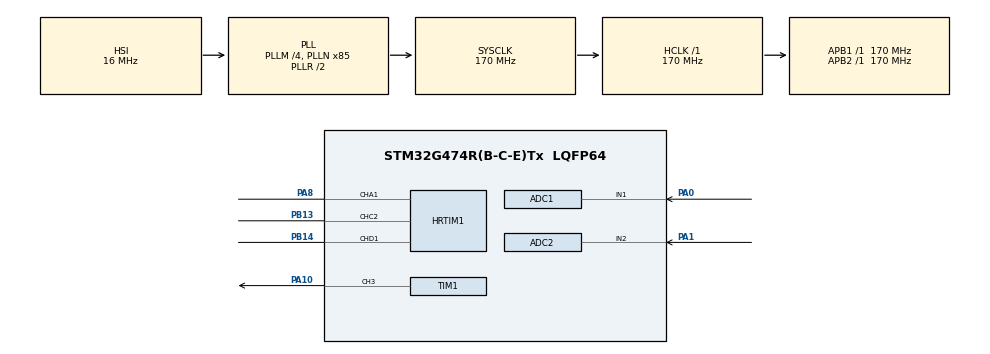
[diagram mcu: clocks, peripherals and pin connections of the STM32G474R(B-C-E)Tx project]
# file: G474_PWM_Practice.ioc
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ADC1.EnableInjectedConversion=ENABLE
ADC1.EnableRegularConversion=DISABLE
ADC1.ExternalTrigInjecConv=ADC_EXTERNALTRIGINJEC_HRTIM_TRG2
ADC1.InjNumberOfConversion=1
ADC1.InjectedChannel-1\#ChannelInjectedConversion=ADC_CHANNEL_1
ADC1.InjectedOffsetNumber-1\#ChannelInjectedConversion=ADC_OFFSET_NONE
ADC1.InjectedRank-1\#ChannelInjectedConversion=1
ADC1.InjectedSamplingTime-1\#ChannelInjectedConversion=ADC_SAMPLETIME_24CYCLES_5
ADC1.Rank1_Channel=ADC_CHANNEL_1
ADC1.master=1
ADC2.EnableInjectedConversion=ENABLE
ADC2.EnableRegularConversion=DISABLE
ADC2.ExternalTrigInjecConv=ADC_EXTERNALTRIGINJEC_HRTIM_TRG4
ADC2.InjNumberOfConversion=1
ADC2.InjectedChannel-3\#ChannelInjectedConversion=ADC_CHANNEL_2
ADC2.InjectedOffsetNumber-3\#ChannelInjectedConversion=ADC_OFFSET_NONE
ADC2.InjectedRank-3\#ChannelInjectedConversion=1
ADC2.InjectedSamplingTime-3\#ChannelInjectedConversion=ADC_SAMPLETIME_24CYCLES_5
ADC2.Rank1_Channel=ADC_CHANNEL_2
HRTIM1.ADCTrigger_Id1=__NULL
HRTIM1.ADCTrigger_Id2=__NULL
HRTIM1.ADCTrigger_Id4=__NULL
HRTIM1.CompareUnit1-MasterTimer=HRTIM_COMPAREUNIT_1
HRTIM1.CompareUnit1-Output_TA1=HRTIM_COMPAREUNIT_1
HRTIM1.CompareUnit1-Output_TC2=HRTIM_COMPAREUNIT_1
HRTIM1.CompareUnit1-Output_TD1=HRTIM_COMPAREUNIT_1
HRTIM1.CompareUnit2-MasterTimer=HRTIM_COMPAREUNIT_2
HRTIM1.CompareValue1-MasterTimer=21760
HRTIM1.CompareValue1-Output_TA1=16320
HRTIM1.CompareValue1-Output_TC2=16320
HRTIM1.CompareValue1-Output_TD1=16320
HRTIM1.CompareValue2-MasterTimer=43520
HRTIM1.Event_EEV1=__NULL
HRTIM1.NumberResetSource1-Output_TA1=1
HRTIM1.NumberResetSource1-Output_TD1=1
HRTIM1.NumberResetSource2-Output_TC2=1
HRTIM1.NumberResetTrigger-Output_TA1=1
HRTIM1.NumberResetTrigger-Output_TC2=1
HRTIM1.NumberResetTrigger-Output_TD1=1
HRTIM1.NumberSetSource1-Output_TA1=1
HRTIM1.NumberSetSource1-Output_TD1=1
HRTIM1.NumberSetSource2-Output_TC2=1
HRTIM1.NumberUpdateTrigger-Output_TA1=0
HRTIM1.Periode_MASTER=65280
HRTIM1.Periode_TA=65280
HRTIM1.Periode_TC=65280
HRTIM1.Periode_TD=65280
HRTIM1.PreloadEnable-MasterTimer=HRTIM_PRELOAD_ENABLED
HRTIM1.PreloadEnable-Output_TA1=HRTIM_PRELOAD_ENABLED
HRTIM1.PreloadEnable-Output_TC2=HRTIM_PRELOAD_ENABLED
HRTIM1.PreloadEnable-Output_TD1=HRTIM_PRELOAD_ENABLED
HRTIM1.PrescalerRatio_TA=HRTIM_PRESCALERRATIO_MUL32
HRTIM1.ResetOutput1_Source1-Output_TA1=HRTIM_OUTPUTRESET_TIMCMP1
HRTIM1.ResetOutput1_Source1-Output_TD1=HRTIM_OUTPUTRESET_TIMCMP1
HRTIM1.ResetOutput2_Source1-Output_TC2=HRTIM_OUTPUTRESET_TIMCMP1
HRTIM1.ResetTrigger1-Output_TA1=HRTIM_TIMRESETTRIGGER_MASTER_PER
HRTIM1.ResetTrigger1-Output_TC2=HRTIM_TIMRESETTRIGGER_MASTER_CMP1
HRTIM1.ResetTrigger1-Output_TD1=HRTIM_TIMRESETTRIGGER_MASTER_CMP2
HRTIM1.ResetUpdate-Output_TA1=HRTIM_TIMUPDATEONRESET_DISABLED
HRTIM1.SetOutput1_Source1-Output_TA1=HRTIM_OUTPUTSET_MASTERPER
HRTIM1.SetOutput1_Source1-Output_TD1=HRTIM_OUTPUTSET_MASTERCMP2
HRTIM1.SetOutput2_Source1-Output_TC2=HRTIM_OUTPUTSET_MASTERCMP1
Mcu.Family=STM32G4
Mcu.Name=STM32G474R(B-C-E)Tx
Mcu.Package=LQFP64
NUCLEO-G474RE.BUTTON=1
NUCLEO-G474RE.LD2=true
NUCLEO-G474RE.VCP=true
NVIC.EXTI15_10_IRQn=true\:0\:0\:false\:false\:true\:false\:true\:true
NVIC.PriorityGroup=NVIC_PRIORITYGROUP_4
NVIC.TIM6_DAC_IRQn=true\:0\:0\:false\:false\:true\:true\:true\:true
PA0.Mode=IN1-Single-Ended
PA0.Signal=ADC1_IN1
PA1.Mode=IN2-Single-Ended
PA1.Signal=ADC2_IN2
PA10.Signal=S_TIM1_CH3
PA13.GPIO_Label=T_SWDIO
PA13.Signal=SYS_JTMS-SWDIO
PA14.GPIO_Label=T_SWCLK
PA14.Signal=SYS_JTCK-SWCLK
PA2.Signal=LPUART1_TX
PA3.Signal=LPUART1_RX
PA8.Mode=Output_TA1
PA8.Signal=HRTIM1_CHA1
PB13.Mode=Output_TC2
PB13.Signal=HRTIM1_CHC2
PB14.Mode=Output_TD1
PB14.Signal=HRTIM1_CHD1
PB3.GPIO_Label=T_SWO
PB3.Signal=SYS_JTDO-SWO
PC14-OSC32_IN.GPIO_Label=RCC_OSC32_IN
PC14-OSC32_IN.Signal=RCC_OSC32_IN
PC15-OSC32_OUT.GPIO_Label=RCC_OSC32_OUT
PC15-OSC32_OUT.Signal=RCC_OSC32_OUT
PF0-OSC_IN.GPIO_Label=RCC_OSC_IN
PF0-OSC_IN.Signal=RCC_OSC_IN
PF1-OSC_OUT.GPIO_Label=RCC_OSC_OUT
PF1-OSC_OUT.Signal=RCC_OSC_OUT
ProjectManager.HeapSize=0x200
ProjectManager.StackSize=0x400
ProjectManager.TargetToolchain=CMake
RCC.ADC12Freq_Value=170000000
RCC.ADC345Freq_Value=170000000
RCC.AHBFreq_Value=170000000
RCC.APB1Freq_Value=170000000
RCC.APB1TimFreq_Value=170000000
RCC.APB2Freq_Value=170000000
RCC.APB2TimFreq_Value=170000000
RCC.CortexFreq_Value=170000000
RCC.EXTERNAL_CLOCK_VALUE=12288000
RCC.HCLKFreq_Value=170000000
RCC.HSE_VALUE=24000000
RCC.HSI48_VALUE=48000000
RCC.HSI_VALUE=16000000
RCC.LSE_VALUE=32768
RCC.PLLM=RCC_PLLM_DIV4
RCC.PLLN=85
RCC.RTCClockSelection=RCC_RTCCLKSOURCE_LSE
RCC.SYSCLKFreq_VALUE=170000000
RCC.SYSCLKSource=RCC_SYSCLKSOURCE_PLLCLK
RCC.USBFreq_Value=170000000
RCC.VCOOutputFreq_Value=340000000
SH.S_TIM1_CH3.0=TIM1_CH3,PWM Generation3 CH3
TIM1.Channel-PWM\ Generation3\ CH3=TIM_CHANNEL_3
TIM1.PeriodNoDither=999
TIM1.Prescaler=169
TIM1.PulseNoDither_3=50
TIM6.PeriodNoDither=9999
TIM6.Prescaler=16999
VP_HRTIM1_VS_hrtimMasterTimerNoOutput.Mode=MasterTimer
VP_NUCLEO-G474RE_VS_BSP_COMMON.Mode=COMMON
VP_SYS_VS_DBSignals.Mode=DisableDeadBatterySignals
VP_TIM1_VS_ClockSourceINT.Mode=Internal
VP_TIM6_VS_ClockSourceINT.Mode=Enable_Timer
board=NUCLEO-G474RE

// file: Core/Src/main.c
/* USER CODE BEGIN Header */
/**
  ******************************************************************************
  * @file           : main.c
  * @brief          : Main program body
  ******************************************************************************
  * @attention
  *
  * Copyright (c) 2026 STMicroelectronics.
  * All rights reserved.
  *
  * This software is licensed under terms that can be found in the LICENSE file
  * in the root directory of this software component.
  * If no LICENSE file comes with this software, it is provided AS-IS.
  *
  ******************************************************************************
  */
/* USER CODE END Header */
#include "main.h"

/* USER CODE BEGIN Includes */
#include <stdbool.h>

/* USER CODE END Includes */

COM_InitTypeDef BspCOMInit;
ADC_HandleTypeDef hadc1;
ADC_HandleTypeDef hadc2;

HRTIM_HandleTypeDef hhrtim1;

TIM_HandleTypeDef htim1;
TIM_HandleTypeDef htim6;

/* USER CODE BEGIN PV */
uint32_t period_hrtim;
bool pwm_25;
/* USER CODE END PV */

void SystemClock_Config(void);
static void MX_GPIO_Init(void);
static void MX_HRTIM1_Init(void);
static void MX_TIM6_Init(void);
static void MX_TIM1_Init(void);
static void MX_ADC1_Init(void);
static void MX_ADC2_Init(void);

/* USER CODE BEGIN 0 */
void change_user_frequency_50(uint32_t period)
{
  __HAL_HRTIM_SETPERIOD(&hhrtim1, HRTIM_TIMERINDEX_TIMER_A, period);
  __HAL_HRTIM_SETCOMPARE(&hhrtim1, HRTIM_TIMERINDEX_TIMER_A, HRTIM_COMPAREUNIT_1, period / 2);
  HAL_HRTIM_SoftwareUpdate(&hhrtim1, HRTIM_TIMERUPDATE_A);
}

void HAL_TIM_PeriodElapsedCallback(TIM_HandleTypeDef *htim)
{
  if( htim->Instance == TIM6 )
  {
    if (pwm_25)
    {
      //CHANGE TTO 75% DUTY CYCLE
      __HAL_HRTIM_SETCOMPARE(&hhrtim1, HRTIM_TIMERINDEX_TIMER_A, HRTIM_COMPAREUNIT_1, (3 * period_hrtim ) / 4);
      pwm_25 = false;
    }
    else {
      //CHANGE TO 25% DUTY CYCLE
      __HAL_HRTIM_SETCOMPARE(&hhrtim1, HRTIM_TIMERINDEX_TIMER_A, HRTIM_COMPAREUNIT_1, period_hrtim / 4);
      pwm_25 = true;

    }
  }
}
/* USER CODE END 0 */

int main(void)
{

  /* MCU Configuration--------------------------------------------------------*/

  /* Reset of all peripherals, Initializes the Flash interface and the Systick. */
  HAL_Init();

  /* Configure the system clock */
  SystemClock_Config();

  /* Initialize all configured peripherals */
  MX_GPIO_Init();
  MX_HRTIM1_Init();
  MX_TIM6_Init();
  MX_TIM1_Init();
  MX_ADC1_Init();
  MX_ADC2_Init();
  /* USER CODE BEGIN 2 */
  /* Load all four timers' preloads before starting the three-phase waveform. */
  if (HAL_HRTIM_SoftwareUpdate(&hhrtim1, HRTIM_TIMERUPDATE_MASTER | HRTIM_TIMERUPDATE_A |
                              HRTIM_TIMERUPDATE_C | HRTIM_TIMERUPDATE_D) != HAL_OK)
  {
    Error_Handler();
  }
  if (HAL_HRTIM_WaveformOutputStart(&hhrtim1, HRTIM_OUTPUT_TA1 | HRTIM_OUTPUT_TC2 |
                                   HRTIM_OUTPUT_TD1) != HAL_OK)
  {
    Error_Handler();
  }
  /* Enable master and phase counters together; master events establish phase. */
  if (HAL_HRTIM_WaveformCounterStart(&hhrtim1, HRTIM_TIMERID_MASTER | HRTIM_TIMERID_TIMER_A |
                                    HRTIM_TIMERID_TIMER_C | HRTIM_TIMERID_TIMER_D) != HAL_OK)
  {
    Error_Handler();
  }

  HAL_TIM_PWM_Start(&htim1, TIM_CHANNEL_3);
  /* USER CODE END 2 */

  /* Initialize led */
  BSP_LED_Init(LED_GREEN);

  /* Initialize USER push-button, will be used to trigger an interrupt each time it's pressed.*/
  BSP_PB_Init(BUTTON_USER, BUTTON_MODE_EXTI);

  /* Initialize COM1 port (115200, 8 bits (7-bit data + 1 stop bit), no parity */
  BspCOMInit.BaudRate   = 115200;
  BspCOMInit.WordLength = COM_WORDLENGTH_8B;
  BspCOMInit.StopBits   = COM_STOPBITS_1;
  BspCOMInit.Parity     = COM_PARITY_NONE;
  BspCOMInit.HwFlowCtl  = COM_HWCONTROL_NONE;
  if (BSP_COM_Init(COM1, &BspCOMInit) != BSP_ERROR_NONE)
  {
    Error_Handler();
  }

  /* Infinite loop */
  while (1)
  {

    /* USER CODE BEGIN 3 */
    /* HRTIM generates the waveform without CPU intervention. */
  }
  /* USER CODE END 3 */
}

void SystemClock_Config(void)
{
  RCC_OscInitTypeDef RCC_OscInitStruct = {0};
  RCC_ClkInitTypeDef RCC_ClkInitStruct = {0};

  /** Configure the main internal regulator output voltage
  */
  HAL_PWREx_ControlVoltageScaling(PWR_REGULATOR_VOLTAGE_SCALE1_BOOST);

  /** Initializes the RCC Oscillators according to the specified parameters
  * in the RCC_OscInitTypeDef structure.
  */
  RCC_OscInitStruct.OscillatorType = RCC_OSCILLATORTYPE_HSI;
  RCC_OscInitStruct.HSIState = RCC_HSI_ON;
  RCC_OscInitStruct.HSICalibrationValue = RCC_HSICALIBRATION_DEFAULT;
  RCC_OscInitStruct.PLL.PLLState = RCC_PLL_ON;
  RCC_OscInitStruct.PLL.PLLSource = RCC_PLLSOURCE_HSI;
  RCC_OscInitStruct.PLL.PLLM = RCC_PLLM_DIV4;
  RCC_OscInitStruct.PLL.PLLN = 85;
  RCC_OscInitStruct.PLL.PLLP = RCC_PLLP_DIV2;
  RCC_OscInitStruct.PLL.PLLQ = RCC_PLLQ_DIV2;
  RCC_OscInitStruct.PLL.PLLR = RCC_PLLR_DIV2;
  if (HAL_RCC_OscConfig(&RCC_OscInitStruct) != HAL_OK)
  {
    Error_Handler();
  }

  /** Initializes the CPU, AHB and APB buses clocks
  */
  RCC_ClkInitStruct.ClockType = RCC_CLOCKTYPE_HCLK|RCC_CLOCKTYPE_SYSCLK
                              |RCC_CLOCKTYPE_PCLK1|RCC_CLOCKTYPE_PCLK2;
  RCC_ClkInitStruct.SYSCLKSource = RCC_SYSCLKSOURCE_PLLCLK;
  RCC_ClkInitStruct.AHBCLKDivider = RCC_SYSCLK_DIV1;
  RCC_ClkInitStruct.APB1CLKDivider = RCC_HCLK_DIV1;
  RCC_ClkInitStruct.APB2CLKDivider = RCC_HCLK_DIV1;

  if (HAL_RCC_ClockConfig(&RCC_ClkInitStruct, FLASH_LATENCY_4) != HAL_OK)
  {
    Error_Handler();
  }
}

static void MX_ADC1_Init(void)
{

  ADC_MultiModeTypeDef multimode = {0};
  ADC_InjectionConfTypeDef sConfigInjected = {0};

  /** Common config
  */
  hadc1.Instance = ADC1;
  hadc1.Init.ClockPrescaler = ADC_CLOCK_SYNC_PCLK_DIV4;
  hadc1.Init.Resolution = ADC_RESOLUTION_12B;
  hadc1.Init.DataAlign = ADC_DATAALIGN_RIGHT;
  hadc1.Init.GainCompensation = 0;
  hadc1.Init.ScanConvMode = ADC_SCAN_DISABLE;
  hadc1.Init.EOCSelection = ADC_EOC_SINGLE_CONV;
  hadc1.Init.LowPowerAutoWait = DISABLE;
  hadc1.Init.ContinuousConvMode = DISABLE;
  hadc1.Init.NbrOfConversion = 1;
  hadc1.Init.DiscontinuousConvMode = DISABLE;
  hadc1.Init.DMAContinuousRequests = DISABLE;
  hadc1.Init.Overrun = ADC_OVR_DATA_PRESERVED;
  hadc1.Init.OversamplingMode = DISABLE;
  if (HAL_ADC_Init(&hadc1) != HAL_OK)
  {
    Error_Handler();
  }

  /** Configure the ADC multi-mode
  */
  multimode.Mode = ADC_MODE_INDEPENDENT;
  if (HAL_ADCEx_MultiModeConfigChannel(&hadc1, &multimode) != HAL_OK)
  {
    Error_Handler();
  }

  /** Configure Injected Channel
  */
  sConfigInjected.InjectedChannel = ADC_CHANNEL_1;
  sConfigInjected.InjectedRank = ADC_INJECTED_RANK_1;
  sConfigInjected.InjectedSamplingTime = ADC_SAMPLETIME_24CYCLES_5;
  sConfigInjected.InjectedSingleDiff = ADC_SINGLE_ENDED;
  sConfigInjected.InjectedOffsetNumber = ADC_OFFSET_NONE;
  sConfigInjected.InjectedOffset = 0;
  sConfigInjected.InjectedNbrOfConversion = 1;
  sConfigInjected.InjectedDiscontinuousConvMode = DISABLE;
  sConfigInjected.AutoInjectedConv = DISABLE;
  sConfigInjected.QueueInjectedContext = DISABLE;
  sConfigInjected.ExternalTrigInjecConv = ADC_EXTERNALTRIGINJEC_HRTIM_TRG2;
  sConfigInjected.ExternalTrigInjecConvEdge = ADC_EXTERNALTRIGINJECCONV_EDGE_RISING;
  sConfigInjected.InjecOversamplingMode = DISABLE;
  if (HAL_ADCEx_InjectedConfigChannel(&hadc1, &sConfigInjected) != HAL_OK)
  {
    Error_Handler();
  }

}

static void MX_ADC2_Init(void)
{

  ADC_InjectionConfTypeDef sConfigInjected = {0};

  /** Common config
  */
  hadc2.Instance = ADC2;
  hadc2.Init.ClockPrescaler = ADC_CLOCK_SYNC_PCLK_DIV4;
  hadc2.Init.Resolution = ADC_RESOLUTION_12B;
  hadc2.Init.DataAlign = ADC_DATAALIGN_RIGHT;
  hadc2.Init.GainCompensation = 0;
  hadc2.Init.ScanConvMode = ADC_SCAN_DISABLE;
  hadc2.Init.EOCSelection = ADC_EOC_SINGLE_CONV;
  hadc2.Init.LowPowerAutoWait = DISABLE;
  hadc2.Init.ContinuousConvMode = DISABLE;
  hadc2.Init.NbrOfConversion = 1;
  hadc2.Init.DiscontinuousConvMode = DISABLE;
  hadc2.Init.DMAContinuousRequests = DISABLE;
  hadc2.Init.Overrun = ADC_OVR_DATA_PRESERVED;
  hadc2.Init.OversamplingMode = DISABLE;
  if (HAL_ADC_Init(&hadc2) != HAL_OK)
  {
    Error_Handler();
  }

  /** Configure Injected Channel
  */
  sConfigInjected.InjectedChannel = ADC_CHANNEL_2;
  sConfigInjected.InjectedRank = ADC_INJECTED_RANK_1;
  sConfigInjected.InjectedSamplingTime = ADC_SAMPLETIME_24CYCLES_5;
  sConfigInjected.InjectedSingleDiff = ADC_SINGLE_ENDED;
  sConfigInjected.InjectedOffsetNumber = ADC_OFFSET_NONE;
  sConfigInjected.InjectedOffset = 0;
  sConfigInjected.InjectedNbrOfConversion = 1;
  sConfigInjected.InjectedDiscontinuousConvMode = DISABLE;
  sConfigInjected.AutoInjectedConv = DISABLE;
  sConfigInjected.QueueInjectedContext = DISABLE;
  sConfigInjected.ExternalTrigInjecConv = ADC_EXTERNALTRIGINJEC_HRTIM_TRG4;
  sConfigInjected.ExternalTrigInjecConvEdge = ADC_EXTERNALTRIGINJECCONV_EDGE_RISING;
  sConfigInjected.InjecOversamplingMode = DISABLE;
  if (HAL_ADCEx_InjectedConfigChannel(&hadc2, &sConfigInjected) != HAL_OK)
  {
    Error_Handler();
  }

}

static void MX_HRTIM1_Init(void)
{

  HRTIM_TimeBaseCfgTypeDef pTimeBaseCfg = {0};
  HRTIM_TimerCfgTypeDef pTimerCfg = {0};
  HRTIM_CompareCfgTypeDef pCompareCfg = {0};
  HRTIM_TimerCtlTypeDef pTimerCtl = {0};
  HRTIM_OutputCfgTypeDef pOutputCfg = {0};

  hhrtim1.Instance = HRTIM1;
  hhrtim1.Init.HRTIMInterruptResquests = HRTIM_IT_NONE;
  hhrtim1.Init.SyncOptions = HRTIM_SYNCOPTION_NONE;
  if (HAL_HRTIM_Init(&hhrtim1) != HAL_OK)
  {
    Error_Handler();
  }
  if (HAL_HRTIM_DLLCalibrationStart(&hhrtim1, HRTIM_CALIBRATIONRATE_3) != HAL_OK)
  {
    Error_Handler();
  }
  if (HAL_HRTIM_PollForDLLCalibration(&hhrtim1, 10) != HAL_OK)
  {
    Error_Handler();
  }
  pTimeBaseCfg.Period = 65280;
  pTimeBaseCfg.RepetitionCounter = 0x00;
  pTimeBaseCfg.PrescalerRatio = HRTIM_PRESCALERRATIO_MUL32;
  pTimeBaseCfg.Mode = HRTIM_MODE_CONTINUOUS;
  if (HAL_HRTIM_TimeBaseConfig(&hhrtim1, HRTIM_TIMERINDEX_MASTER, &pTimeBaseCfg) != HAL_OK)
  {
    Error_Handler();
  }
  pTimerCfg.InterruptRequests = HRTIM_MASTER_IT_NONE;
  pTimerCfg.DMARequests = HRTIM_MASTER_DMA_NONE;
  pTimerCfg.DMASrcAddress = 0x0000;
  pTimerCfg.DMADstAddress = 0x0000;
  pTimerCfg.DMASize = 0x1;
  pTimerCfg.HalfModeEnable = HRTIM_HALFMODE_DISABLED;
  pTimerCfg.InterleavedMode = HRTIM_INTERLEAVED_MODE_DISABLED;
  pTimerCfg.StartOnSync = HRTIM_SYNCSTART_DISABLED;
  pTimerCfg.ResetOnSync = HRTIM_SYNCRESET_DISABLED;
  pTimerCfg.DACSynchro = HRTIM_DACSYNC_NONE;
  pTimerCfg.PreloadEnable = HRTIM_PRELOAD_ENABLED;
  pTimerCfg.UpdateGating = HRTIM_UPDATEGATING_INDEPENDENT;
  pTimerCfg.BurstMode = HRTIM_TIMERBURSTMODE_MAINTAINCLOCK;
  pTimerCfg.RepetitionUpdate = HRTIM_UPDATEONREPETITION_DISABLED;
  pTimerCfg.ReSyncUpdate = HRTIM_TIMERESYNC_UPDATE_UNCONDITIONAL;
  if (HAL_HRTIM_WaveformTimerConfig(&hhrtim1, HRTIM_TIMERINDEX_MASTER, &pTimerCfg) != HAL_OK)
  {
    Error_Handler();
  }
  pCompareCfg.CompareValue = 21760;
  if (HAL_HRTIM_WaveformCompareConfig(&hhrtim1, HRTIM_TIMERINDEX_MASTER, HRTIM_COMPAREUNIT_1, &pCompareCfg) != HAL_OK)
  {
    Error_Handler();
  }
  pCompareCfg.CompareValue = 43520;
  if (HAL_HRTIM_WaveformCompareConfig(&hhrtim1, HRTIM_TIMERINDEX_MASTER, HRTIM_COMPAREUNIT_2, &pCompareCfg) != HAL_OK)
  {
    Error_Handler();
  }
  if (HAL_HRTIM_TimeBaseConfig(&hhrtim1, HRTIM_TIMERINDEX_TIMER_A, &pTimeBaseCfg) != HAL_OK)
  {
    Error_Handler();
  }
  pTimerCtl.UpDownMode = HRTIM_TIMERUPDOWNMODE_UP;
  pTimerCtl.GreaterCMP1 = HRTIM_TIMERGTCMP1_EQUAL;
  pTimerCtl.DualChannelDacEnable = HRTIM_TIMER_DCDE_DISABLED;
  if (HAL_HRTIM_WaveformTimerControl(&hhrtim1, HRTIM_TIMERINDEX_TIMER_A, &pTimerCtl) != HAL_OK)
  {
    Error_Handler();
  }
  pTimerCfg.InterruptRequests = HRTIM_TIM_IT_NONE;
  pTimerCfg.DMARequests = HRTIM_TIM_DMA_NONE;
  pTimerCfg.PushPull = HRTIM_TIMPUSHPULLMODE_DISABLED;
  pTimerCfg.FaultEnable = HRTIM_TIMFAULTENABLE_NONE;
  pTimerCfg.FaultLock = HRTIM_TIMFAULTLOCK_READWRITE;
  pTimerCfg.DeadTimeInsertion = HRTIM_TIMDEADTIMEINSERTION_DISABLED;
  pTimerCfg.DelayedProtectionMode = HRTIM_TIMER_A_B_C_DELAYEDPROTECTION_DISABLED;
  pTimerCfg.UpdateTrigger = HRTIM_TIMUPDATETRIGGER_NONE;
  pTimerCfg.ResetTrigger = HRTIM_TIMRESETTRIGGER_MASTER_PER;
  pTimerCfg.ResetUpdate = HRTIM_TIMUPDATEONRESET_DISABLED;
  if (HAL_HRTIM_WaveformTimerConfig(&hhrtim1, HRTIM_TIMERINDEX_TIMER_A, &pTimerCfg) != HAL_OK)
  {
    Error_Handler();
  }
  pTimerCfg.ResetTrigger = HRTIM_TIMRESETTRIGGER_MASTER_CMP1;
  if (HAL_HRTIM_WaveformTimerConfig(&hhrtim1, HRTIM_TIMERINDEX_TIMER_C, &pTimerCfg) != HAL_OK)
  {
    Error_Handler();
  }
  pTimerCfg.DelayedProtectionMode = HRTIM_TIMER_D_E_DELAYEDPROTECTION_DISABLED;
  pTimerCfg.ResetTrigger = HRTIM_TIMRESETTRIGGER_MASTER_CMP2;
  if (HAL_HRTIM_WaveformTimerConfig(&hhrtim1, HRTIM_TIMERINDEX_TIMER_D, &pTimerCfg) != HAL_OK)
  {
    Error_Handler();
  }
  pCompareCfg.CompareValue = 16320;
  if (HAL_HRTIM_WaveformCompareConfig(&hhrtim1, HRTIM_TIMERINDEX_TIMER_A, HRTIM_COMPAREUNIT_1, &pCompareCfg) != HAL_OK)
  {
    Error_Handler();
  }
  pOutputCfg.Polarity = HRTIM_OUTPUTPOLARITY_HIGH;
  pOutputCfg.SetSource = HRTIM_OUTPUTSET_MASTERPER;
  pOutputCfg.ResetSource = HRTIM_OUTPUTRESET_TIMCMP1;
  pOutputCfg.IdleMode = HRTIM_OUTPUTIDLEMODE_NONE;
  pOutputCfg.IdleLevel = HRTIM_OUTPUTIDLELEVEL_INACTIVE;
  pOutputCfg.FaultLevel = HRTIM_OUTPUTFAULTLEVEL_NONE;
  pOutputCfg.ChopperModeEnable = HRTIM_OUTPUTCHOPPERMODE_DISABLED;
  pOutputCfg.BurstModeEntryDelayed = HRTIM_OUTPUTBURSTMODEENTRY_REGULAR;
  if (HAL_HRTIM_WaveformOutputConfig(&hhrtim1, HRTIM_TIMERINDEX_TIMER_A, HRTIM_OUTPUT_TA1, &pOutputCfg) != HAL_OK)
  {
    Error_Handler();
  }
  pOutputCfg.SetSource = HRTIM_OUTPUTSET_MASTERCMP2;
  if (HAL_HRTIM_WaveformOutputConfig(&hhrtim1, HRTIM_TIMERINDEX_TIMER_D, HRTIM_OUTPUT_TD1, &pOutputCfg) != HAL_OK)
  {
    Error_Handler();
  }
  if (HAL_HRTIM_TimeBaseConfig(&hhrtim1, HRTIM_TIMERINDEX_TIMER_C, &pTimeBaseCfg) != HAL_OK)
  {
    Error_Handler();
  }
  if (HAL_HRTIM_WaveformTimerControl(&hhrtim1, HRTIM_TIMERINDEX_TIMER_C, &pTimerCtl) != HAL_OK)
  {
    Error_Handler();
  }
  if (HAL_HRTIM_WaveformCompareConfig(&hhrtim1, HRTIM_TIMERINDEX_TIMER_C, HRTIM_COMPAREUNIT_1, &pCompareCfg) != HAL_OK)
  {
    Error_Handler();
  }
  pOutputCfg.SetSource = HRTIM_OUTPUTSET_MASTERCMP1;
  pOutputCfg.ResetSource = HRTIM_OUTPUTRESET_TIMCMP1;
  if (HAL_HRTIM_WaveformOutputConfig(&hhrtim1, HRTIM_TIMERINDEX_TIMER_C, HRTIM_OUTPUT_TC2, &pOutputCfg) != HAL_OK)
  {
    Error_Handler();
  }
  if (HAL_HRTIM_TimeBaseConfig(&hhrtim1, HRTIM_TIMERINDEX_TIMER_D, &pTimeBaseCfg) != HAL_OK)
  {
    Error_Handler();
  }
  if (HAL_HRTIM_WaveformTimerControl(&hhrtim1, HRTIM_TIMERINDEX_TIMER_D, &pTimerCtl) != HAL_OK)
  {
    Error_Handler();
  }
  if (HAL_HRTIM_WaveformCompareConfig(&hhrtim1, HRTIM_TIMERINDEX_TIMER_D, HRTIM_COMPAREUNIT_1, &pCompareCfg) != HAL_OK)
  {
    Error_Handler();
  }
  HAL_HRTIM_MspPostInit(&hhrtim1);

}

static void MX_TIM1_Init(void)
{

  TIM_ClockConfigTypeDef sClockSourceConfig = {0};
  TIM_MasterConfigTypeDef sMasterConfig = {0};
  TIM_OC_InitTypeDef sConfigOC = {0};
  TIM_BreakDeadTimeConfigTypeDef sBreakDeadTimeConfig = {0};

  htim1.Instance = TIM1;
  htim1.Init.Prescaler = 169;
  htim1.Init.CounterMode = TIM_COUNTERMODE_UP;
  htim1.Init.Period = 999;
  htim1.Init.ClockDivision = TIM_CLOCKDIVISION_DIV1;
  htim1.Init.RepetitionCounter = 0;
  htim1.Init.AutoReloadPreload = TIM_AUTORELOAD_PRELOAD_DISABLE;
  if (HAL_TIM_Base_Init(&htim1) != HAL_OK)
  {
    Error_Handler();
  }
  sClockSourceConfig.ClockSource = TIM_CLOCKSOURCE_INTERNAL;
  if (HAL_TIM_ConfigClockSource(&htim1, &sClockSourceConfig) != HAL_OK)
  {
    Error_Handler();
  }
  if (HAL_TIM_PWM_Init(&htim1) != HAL_OK)
  {
    Error_Handler();
  }
  sMasterConfig.MasterOutputTrigger = TIM_TRGO_RESET;
  sMasterConfig.MasterOutputTrigger2 = TIM_TRGO2_RESET;
  sMasterConfig.MasterSlaveMode = TIM_MASTERSLAVEMODE_DISABLE;
  if (HAL_TIMEx_MasterConfigSynchronization(&htim1, &sMasterConfig) != HAL_OK)
  {
    Error_Handler();
  }
  sConfigOC.OCMode = TIM_OCMODE_PWM1;
  sConfigOC.Pulse = 50;
  sConfigOC.OCPolarity = TIM_OCPOLARITY_HIGH;
  sConfigOC.OCNPolarity = TIM_OCNPOLARITY_HIGH;
  sConfigOC.OCFastMode = TIM_OCFAST_DISABLE;
  sConfigOC.OCIdleState = TIM_OCIDLESTATE_RESET;
  sConfigOC.OCNIdleState = TIM_OCNIDLESTATE_RESET;
  if (HAL_TIM_PWM_ConfigChannel(&htim1, &sConfigOC, TIM_CHANNEL_3) != HAL_OK)
  {
    Error_Handler();
  }
  sBreakDeadTimeConfig.OffStateRunMode = TIM_OSSR_DISABLE;
  sBreakDeadTimeConfig.OffStateIDLEMode = TIM_OSSI_DISABLE;
  sBreakDeadTimeConfig.LockLevel = TIM_LOCKLEVEL_OFF;
  sBreakDeadTimeConfig.DeadTime = 0;
  sBreakDeadTimeConfig.BreakState = TIM_BREAK_DISABLE;
  sBreakDeadTimeConfig.BreakPolarity = TIM_BREAKPOLARITY_HIGH;
  sBreakDeadTimeConfig.BreakFilter = 0;
  sBreakDeadTimeConfig.BreakAFMode = TIM_BREAK_AFMODE_INPUT;
  sBreakDeadTimeConfig.Break2State = TIM_BREAK2_DISABLE;
  sBreakDeadTimeConfig.Break2Polarity = TIM_BREAK2POLARITY_HIGH;
  sBreakDeadTimeConfig.Break2Filter = 0;
  sBreakDeadTimeConfig.Break2AFMode = TIM_BREAK_AFMODE_INPUT;
  sBreakDeadTimeConfig.AutomaticOutput = TIM_AUTOMATICOUTPUT_DISABLE;
  if (HAL_TIMEx_ConfigBreakDeadTime(&htim1, &sBreakDeadTimeConfig) != HAL_OK)
  {
    Error_Handler();
  }
  HAL_TIM_MspPostInit(&htim1);

}

static void MX_TIM6_Init(void)
{

  TIM_MasterConfigTypeDef sMasterConfig = {0};

  htim6.Instance = TIM6;
  htim6.Init.Prescaler = 16999;
  htim6.Init.CounterMode = TIM_COUNTERMODE_UP;
  htim6.Init.Period = 9999;
  htim6.Init.AutoReloadPreload = TIM_AUTORELOAD_PRELOAD_DISABLE;
  if (HAL_TIM_Base_Init(&htim6) != HAL_OK)
  {
    Error_Handler();
  }
  sMasterConfig.MasterOutputTrigger = TIM_TRGO_RESET;
  sMasterConfig.MasterSlaveMode = TIM_MASTERSLAVEMODE_DISABLE;
  if (HAL_TIMEx_MasterConfigSynchronization(&htim6, &sMasterConfig) != HAL_OK)
  {
    Error_Handler();
  }

}

static void MX_GPIO_Init(void)
{

  /* GPIO Ports Clock Enable */
  __HAL_RCC_GPIOC_CLK_ENABLE();
  __HAL_RCC_GPIOF_CLK_ENABLE();
  __HAL_RCC_GPIOA_CLK_ENABLE();
  __HAL_RCC_GPIOB_CLK_ENABLE();

}

void Error_Handler(void)
{
  __disable_irq();
  while (1)
  {
  }
}
